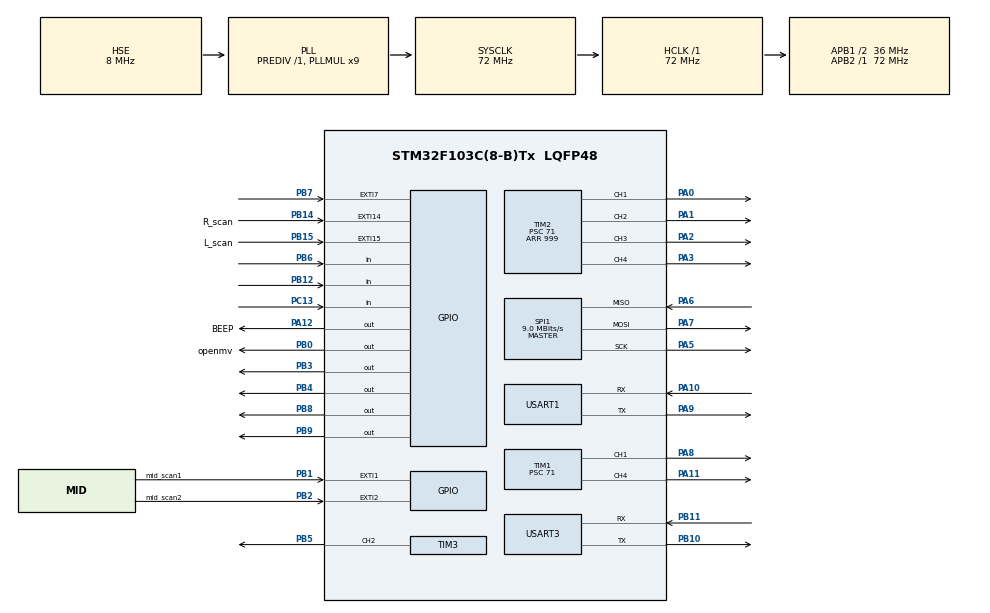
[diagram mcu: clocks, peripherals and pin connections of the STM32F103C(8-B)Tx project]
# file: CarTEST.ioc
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Dma.Request0=USART1_RX
Dma.USART1_RX.0.Direction=DMA_PERIPH_TO_MEMORY
Dma.USART1_RX.0.Instance=DMA1_Channel5
Dma.USART1_RX.0.MemDataAlignment=DMA_MDATAALIGN_BYTE
Dma.USART1_RX.0.MemInc=DMA_MINC_ENABLE
Dma.USART1_RX.0.Mode=DMA_CIRCULAR
Dma.USART1_RX.0.PeriphDataAlignment=DMA_PDATAALIGN_BYTE
Dma.USART1_RX.0.PeriphInc=DMA_PINC_DISABLE
Dma.USART1_RX.0.Priority=DMA_PRIORITY_LOW
Mcu.Family=STM32F1
Mcu.Name=STM32F103C(8-B)Tx
Mcu.Package=LQFP48
NVIC.DMA1_Channel5_IRQn=true\:0\:0\:false\:false\:true\:false\:true\:true
NVIC.EXTI15_10_IRQn=true\:2\:0\:true\:false\:true\:true\:true\:true
NVIC.EXTI1_IRQn=true\:2\:0\:true\:false\:true\:true\:true\:true
NVIC.EXTI2_IRQn=true\:2\:0\:true\:false\:true\:true\:true\:true
NVIC.EXTI9_5_IRQn=true\:0\:0\:false\:false\:true\:true\:true\:true
NVIC.PriorityGroup=NVIC_PRIORITYGROUP_4
NVIC.SPI1_IRQn=true\:0\:0\:false\:false\:true\:true\:true\:true
NVIC.TIM4_IRQn=true\:0\:0\:false\:false\:true\:true\:true\:true
NVIC.USART1_IRQn=true\:2\:0\:true\:true\:true\:1\:true\:true\:true
PA0-WKUP.Signal=S_TIM2_CH1_ETR
PA1.Signal=S_TIM2_CH2
PA10.GPIO_PuPd=GPIO_PULLUP
PA10.Mode=Asynchronous
PA10.Signal=USART1_RX
PA11.Signal=S_TIM1_CH4
PA12.GPIO_Label=BEEP
PA12.PinState=GPIO_PIN_SET
PA12.Signal=GPIO_Output
PA2.Signal=S_TIM2_CH3
PA3.Signal=S_TIM2_CH4
PA5.Mode=Full_Duplex_Master
PA5.Signal=SPI1_SCK
PA6.Mode=Full_Duplex_Master
PA6.Signal=SPI1_MISO
PA7.Mode=Full_Duplex_Master
PA7.Signal=SPI1_MOSI
PA8.Signal=S_TIM1_CH1
PA9.Mode=Asynchronous
PA9.Signal=USART1_TX
PB0.GPIO_Label=openmv
PB0.GPIO_ModeDefaultOutputPP=GPIO_MODE_OUTPUT_PP
PB0.GPIO_PuPd=GPIO_PULLUP
PB0.GPIO_Speed=GPIO_SPEED_FREQ_LOW
PB0.PinState=GPIO_PIN_SET
PB0.Signal=GPIO_Output
PB1.GPIO_Label=mid_scan1
PB1.GPIO_PuPd=GPIO_PULLDOWN
PB1.Signal=GPXTI1
PB10.Mode=Asynchronous
PB10.Signal=USART3_TX
PB11.GPIO_PuPd=GPIO_PULLUP
PB11.Mode=Asynchronous
PB11.Signal=USART3_RX
PB12.Signal=GPIO_Input
PB14.GPIO_Label=R_scan
PB14.GPIO_ModeDefaultEXTI=GPIO_MODE_IT_RISING
PB14.GPIO_PuPd=GPIO_PULLDOWN
PB14.Signal=GPXTI14
PB15.GPIO_Label=L_scan
PB15.GPIO_ModeDefaultEXTI=GPIO_MODE_IT_RISING
PB15.GPIO_PuPd=GPIO_PULLDOWN
PB15.Signal=GPXTI15
PB2.GPIO_Label=mid_scan2
PB2.GPIO_PuPd=GPIO_PULLDOWN
PB2.Signal=GPXTI2
PB3.Signal=GPIO_Output
PB4.Signal=GPIO_Output
PB5.Signal=S_TIM3_CH2
PB6.GPIO_PuPd=GPIO_PULLUP
PB6.Signal=GPIO_Input
PB7.GPIO_ModeDefaultEXTI=GPIO_MODE_IT_FALLING
PB7.GPIO_PuPd=GPIO_NOPULL
PB7.Signal=GPXTI7
PB8.GPIO_ModeDefaultOutputPP=GPIO_MODE_OUTPUT_PP
PB8.GPIO_PuPd=GPIO_PULLUP
PB8.GPIO_Speed=GPIO_SPEED_FREQ_HIGH
PB8.PinState=GPIO_PIN_RESET
PB8.Signal=GPIO_Output
PB9.GPIO_PuPd=GPIO_PULLUP
PB9.Signal=GPIO_Output
PC13-TAMPER-RTC.GPIO_PuPd=GPIO_PULLUP
PC13-TAMPER-RTC.Signal=GPIO_Input
PC14-OSC32_IN.Mode=LSE-External-Oscillator
PC14-OSC32_IN.Signal=RCC_OSC32_IN
PC15-OSC32_OUT.Mode=LSE-External-Oscillator
PC15-OSC32_OUT.Signal=RCC_OSC32_OUT
PD0-OSC_IN.Mode=HSE-External-Oscillator
PD0-OSC_IN.Signal=RCC_OSC_IN
PD1-OSC_OUT.Mode=HSE-External-Oscillator
PD1-OSC_OUT.Signal=RCC_OSC_OUT
ProjectManager.HeapSize=0x200
ProjectManager.StackSize=0x400
ProjectManager.TargetToolchain=MDK-ARM V5.32
RCC.AHBFreq_Value=72000000
RCC.APB1CLKDivider=RCC_HCLK_DIV2
RCC.APB1Freq_Value=36000000
RCC.APB1TimFreq_Value=72000000
RCC.APB2Freq_Value=72000000
RCC.APB2TimFreq_Value=72000000
RCC.HCLKFreq_Value=72000000
RCC.PLLMUL=RCC_PLL_MUL9
RCC.PLLSourceVirtual=RCC_PLLSOURCE_HSE
RCC.SYSCLKFreq_VALUE=72000000
RCC.SYSCLKSource=RCC_SYSCLKSOURCE_PLLCLK
RCC.USBFreq_Value=72000000
SH.S_TIM1_CH1.0=TIM1_CH1,PWM Generation1 CH1
SH.S_TIM1_CH4.0=TIM1_CH4,PWM Generation4 CH4
SH.S_TIM2_CH1_ETR.0=TIM2_CH1,PWM Generation1 CH1
SH.S_TIM2_CH2.0=TIM2_CH2,PWM Generation2 CH2
SH.S_TIM2_CH3.0=TIM2_CH3,PWM Generation3 CH3
SH.S_TIM2_CH4.0=TIM2_CH4,PWM Generation4 CH4
SH.S_TIM3_CH2.0=TIM3_CH2,PWM Generation2 CH2
SPI1.BaudRatePrescaler=SPI_BAUDRATEPRESCALER_8
SPI1.CalculateBaudRate=9.0 MBits/s
SPI1.Direction=SPI_DIRECTION_2LINES
SPI1.Mode=SPI_MODE_MASTER
SPI1.VirtualType=VM_MASTER
TIM1.AutoReloadPreload=TIM_AUTORELOAD_PRELOAD_ENABLE
TIM1.Channel-PWM\ Generation1\ CH1=TIM_CHANNEL_1
TIM1.Channel-PWM\ Generation4\ CH4=TIM_CHANNEL_4
TIM1.Period=999
TIM1.Prescaler=71
TIM2.AutoReloadPreload=TIM_AUTORELOAD_PRELOAD_ENABLE
TIM2.Channel-PWM\ Generation1\ CH1=TIM_CHANNEL_1
TIM2.Channel-PWM\ Generation2\ CH2=TIM_CHANNEL_2
TIM2.Channel-PWM\ Generation3\ CH3=TIM_CHANNEL_3
TIM2.Channel-PWM\ Generation4\ CH4=TIM_CHANNEL_4
TIM2.Period=999
TIM2.Prescaler=71
TIM2.Pulse-PWM\ Generation1\ CH1=0
TIM2.Pulse-PWM\ Generation2\ CH2=0
TIM2.Pulse-PWM\ Generation3\ CH3=0
TIM2.Pulse-PWM\ Generation4\ CH4=0
TIM3.Channel-PWM\ Generation2\ CH2=TIM_CHANNEL_2
TIM3.Period=2856
TIM3.Prescaler=503
TIM3.Pulse-PWM\ Generation2\ CH2=214
TIM4.Period=99
TIM4.Prescaler=7199
USART1.VirtualMode=VM_ASYNC
USART3.VirtualMode=VM_ASYNC
VP_SYS_VS_ND.Mode=No_Debug
VP_TIM1_VS_ClockSourceINT.Mode=Internal
VP_TIM2_VS_ClockSourceINT.Mode=Internal
VP_TIM3_VS_ClockSourceINT.Mode=Internal
VP_TIM4_VS_ClockSourceINT.Mode=Internal
board=custom

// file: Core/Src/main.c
/* USER CODE BEGIN Header */
/**
  ******************************************************************************
  * @file           : main.c
  * @brief          : Main program body
  ******************************************************************************
  * @attention
  *
  * Copyright (c) 2022 STMicroelectronics.
  * All rights reserved.
  *
  * This software is licensed under terms that can be found in the LICENSE file
  * in the root directory of this software component.
  * If no LICENSE file comes with this software, it is provided AS-IS.
  *
  ******************************************************************************
  */
/* USER CODE END Header */
#include "main.h"
#include "dma.h"
#include "spi.h"
#include "tim.h"
#include "usart.h"
#include "gpio.h"

/* USER CODE BEGIN Includes */
#include "control.h"
#include "pid.h"
#include <math.h>
#include <stdio.h>
#include <string.h>
#include "oled.h"
#include "delay.h"
#include "nrf24l01.h"

/* USER CODE END Includes */

/* USER CODE BEGIN PTD */

float servo_sum = 0;

uint8_t tim4_flag = 0;

/* USER CODE END PTD */

void SystemClock_Config(void);
static void MX_NVIC_Init(void);

/* USER CODE BEGIN 0 */
uint8_t txbuff[32]={'1','2','3'};
/* USER CODE END 0 */

int main(void)
{

  /* MCU Configuration--------------------------------------------------------*/

  /* Reset of all peripherals, Initializes the Flash interface and the Systick. */
  HAL_Init();

  /* Configure the system clock */
  SystemClock_Config();

  /* Initialize all configured peripherals */
  MX_GPIO_Init();
  MX_DMA_Init();
  MX_TIM2_Init();
  MX_TIM3_Init();
  MX_USART1_UART_Init();
  MX_USART3_UART_Init();
  MX_TIM4_Init();
  MX_TIM1_Init();
  MX_SPI1_Init();

  /* Initialize interrupts */
  MX_NVIC_Init();
  /* USER CODE BEGIN 2 */
  OLED_Init();
  OLED_Clear();
  OLED_ShowString(1,1,"PWM:");
  OLED_ShowString(2,1,"Speed:");
  OLED_ShowString(2,1,"Speed:");
  OLED_ShowString(3,1,"Mode:");
  OLED_ShowString(2,7,"0.3m/s");
  OLED_ShowNum(1,5,set_pwm,3);
   // NRF24L01_TX_Mode(&hspi1);

    OLED_ShowString(4,2,"ok");
    HAL_TIM_PWM_Start(&htim1,TIM_CHANNEL_1);
    HAL_TIM_PWM_Start(&htim1,TIM_CHANNEL_4);
	HAL_TIM_PWM_Start(&htim3,TIM_CHANNEL_2);
    HAL_TIM_PWM_Start(&htim3,TIM_CHANNEL_3);
    HAL_TIM_PWM_Start(&htim3,TIM_CHANNEL_4);
	HAL_Delay(1000);
	HAL_TIM_PWM_Start(&htim2,TIM_CHANNEL_1);
	HAL_TIM_PWM_Start(&htim2,TIM_CHANNEL_2);
	HAL_TIM_PWM_Start(&htim2,TIM_CHANNEL_3);
	HAL_TIM_PWM_Start(&htim2,TIM_CHANNEL_4);
	HAL_TIM_Base_Start_IT(&htim4);
//	__HAL_TIM_SetCompare(&htim2,TIM_CHANNEL_1,500);
    set_zhuanwan_output(0);
    //stop_motor();
   // start_motor();
  /* USER CODE END 2 */

  /* Infinite loop */
  /* USER CODE BEGIN WHILE */
  while (1)
  {
      //NRF24L01_TxPacket(&hspi1,txbuff);
      if(process_flag)
      {
          PROCESS_MOTOR();
          process_flag=0;

      }
      if(key_count>=10)
      {
          key_count=0;
		key_proce();
      }
//     if( click_M())
//     {
//        if(NRF24L01_TxPacket(tmp_buf)==TX_OK)
//        {
//              OLED_ShowString(1,1,"send ok");
//        }
//     }

    /* USER CODE END WHILE */

  }
}

void SystemClock_Config(void)
{
  RCC_OscInitTypeDef RCC_OscInitStruct = {0};
  RCC_ClkInitTypeDef RCC_ClkInitStruct = {0};

  /** Initializes the RCC Oscillators according to the specified parameters
  * in the RCC_OscInitTypeDef structure.
  */
  RCC_OscInitStruct.OscillatorType = RCC_OSCILLATORTYPE_HSE;
  RCC_OscInitStruct.HSEState = RCC_HSE_ON;
  RCC_OscInitStruct.HSEPredivValue = RCC_HSE_PREDIV_DIV1;
  RCC_OscInitStruct.HSIState = RCC_HSI_ON;
  RCC_OscInitStruct.PLL.PLLState = RCC_PLL_ON;
  RCC_OscInitStruct.PLL.PLLSource = RCC_PLLSOURCE_HSE;
  RCC_OscInitStruct.PLL.PLLMUL = RCC_PLL_MUL9;
  if (HAL_RCC_OscConfig(&RCC_OscInitStruct) != HAL_OK)
  {
    Error_Handler();
  }

  /** Initializes the CPU, AHB and APB buses clocks
  */
  RCC_ClkInitStruct.ClockType = RCC_CLOCKTYPE_HCLK|RCC_CLOCKTYPE_SYSCLK
                              |RCC_CLOCKTYPE_PCLK1|RCC_CLOCKTYPE_PCLK2;
  RCC_ClkInitStruct.SYSCLKSource = RCC_SYSCLKSOURCE_PLLCLK;
  RCC_ClkInitStruct.AHBCLKDivider = RCC_SYSCLK_DIV1;
  RCC_ClkInitStruct.APB1CLKDivider = RCC_HCLK_DIV2;
  RCC_ClkInitStruct.APB2CLKDivider = RCC_HCLK_DIV1;

  if (HAL_RCC_ClockConfig(&RCC_ClkInitStruct, FLASH_LATENCY_2) != HAL_OK)
  {
    Error_Handler();
  }
}

/**
  * @brief NVIC Configuration.
  * @retval None
  */
static void MX_NVIC_Init(void)
{
  /* USART1_IRQn interrupt configuration */
  HAL_NVIC_SetPriority(USART1_IRQn, 2, 0);
  HAL_NVIC_EnableIRQ(USART1_IRQn);
}

/* USER CODE BEGIN 4 */
int fputc(int ch, FILE *f)
{
  HAL_UART_Transmit(&huart3, (uint8_t *)&ch, 1, 0xffff);
  return ch;
}

/* USER CODE END 4 */

void Error_Handler(void)
{
  __disable_irq();
  while (1)
  {
  }
}
